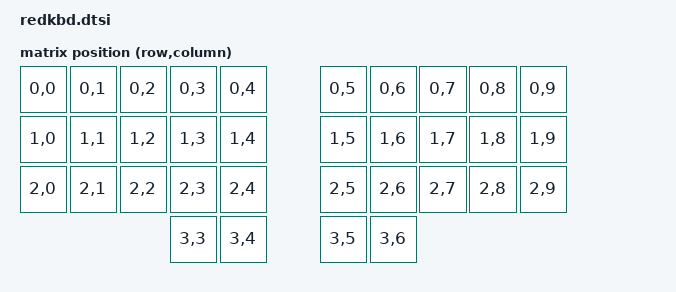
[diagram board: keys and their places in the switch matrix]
#include <dt-bindings/zmk/matrix_transform.h>
#include "redkbd-layouts.dtsi"

&default_layout {
    transform = <&default_transform>;
};

/ {
    chosen {
        zmk,kscan = &kscan0;
        zmk,physical-layout = &default_layout;
    };

    default_transform: keymap_transform_0 {
        compatible = "zmk,matrix-transform";
        columns = <10>;
        rows = <4>;
        map = <
        //  LKey 1 |LKey 2 |LKey 3 |LKey 4 |LKey 5      RKey 1 |RKey 2 |RKey 3 |RKey 4 |RKey 5  
            RC(0,0) RC(0,1) RC(0,2) RC(0,3) RC(0,4)     RC(0,5) RC(0,6) RC(0,7) RC(0,8) RC(0,9) 
        //  LKey 6 |LKey 7 |LKey 8 |LKey 9 |LKey 10     RKey 6 |RKey 7 |RKey 8 |RKey 9 |RKey 10  
            RC(1,0) RC(1,1) RC(1,2) RC(1,3) RC(1,4)     RC(1,5) RC(1,6) RC(1,7) RC(1,8) RC(1,9) 
        //  LKey 11|LKey 12|LKey 13|LKey 14|LKey 15     RKey 11|RKey 12|RKey 13|RKey 14|RKey 15 
            RC(2,0) RC(2,1) RC(2,2) RC(2,3) RC(2,4)     RC(2,5) RC(2,6) RC(2,7) RC(2,8) RC(2,9) 
        //                          LKey 16|LKey 17     RKey 16|RKey 17
                                    RC(3,3) RC(3,4)     RC(3,5) RC(3,6)
        >;
    };

    kscan0: kscan {
        compatible = "zmk,kscan-gpio-matrix";
        wakeup-source;
    };
};
